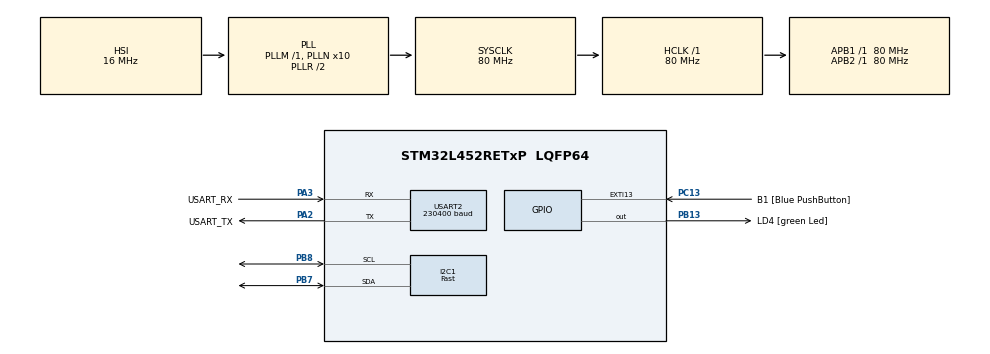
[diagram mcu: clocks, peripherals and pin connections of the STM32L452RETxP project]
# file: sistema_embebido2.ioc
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I2C1.I2C_Speed_Mode=I2C_Fast
I2C1.Timing=0x00702991
Mcu.Family=STM32L4
Mcu.Name=STM32L452RETxP
Mcu.Package=LQFP64
NVIC.PriorityGroup=NVIC_PRIORITYGROUP_4
NVIC.TIM1_UP_TIM16_IRQn=true\:0\:0\:false\:false\:true\:true\:true\:true
PA13\ (JTMS/SWDIO).GPIO_Label=TMS
PA13\ (JTMS/SWDIO).Signal=SYS_JTMS-SWDIO
PA14\ (JTCK/SWCLK).GPIO_Label=TCK
PA14\ (JTCK/SWCLK).Signal=SYS_JTCK-SWCLK
PA2.GPIO_Label=USART_TX
PA2.GPIO_Mode=GPIO_MODE_AF_PP
PA2.GPIO_PuPd=GPIO_NOPULL
PA2.GPIO_Speed=GPIO_SPEED_FREQ_VERY_HIGH
PA2.Mode=Asynchronous
PA2.Signal=USART2_TX
PA3.GPIO_Label=USART_RX
PA3.GPIO_Mode=GPIO_MODE_AF_PP
PA3.GPIO_PuPd=GPIO_NOPULL
PA3.GPIO_Speed=GPIO_SPEED_FREQ_VERY_HIGH
PA3.Mode=Asynchronous
PA3.Signal=USART2_RX
PB13.GPIO_Label=LD4 [green Led]
PB13.Signal=GPIO_Output
PB3\ (JTDO/TRACESWO).GPIO_Label=SWO
PB3\ (JTDO/TRACESWO).Signal=SYS_JTDO-SWO
PB7.Mode=I2C
PB7.Signal=I2C1_SDA
PB8.Mode=I2C
PB8.Signal=I2C1_SCL
PC13.GPIO_Label=B1 [Blue PushButton]
PC13.GPIO_ModeDefaultEXTI=GPIO_MODE_IT_FALLING
PC13.GPIO_PuPd=GPIO_NOPULL
PC13.Signal=GPXTI13
PC14-OSC32_IN\ (PC14).Signal=RCC_OSC32_IN
PC15-OSC32_OUT\ (PC15).Signal=RCC_OSC32_OUT
PH0-OSC_IN\ (PH0).GPIO_Label=MCO
PH0-OSC_IN\ (PH0).Signal=RCC_OSC_IN
PH1-OSC_OUT\ (PH1).Signal=RCC_OSC_OUT
ProjectManager.HeapSize=0x200
ProjectManager.StackSize=0x400
ProjectManager.TargetToolchain=STM32CubeIDE
RCC.ADCFreq_Value=64000000
RCC.AHBFreq_Value=80000000
RCC.APB1Freq_Value=80000000
RCC.APB1TimFreq_Value=80000000
RCC.APB2Freq_Value=80000000
RCC.APB2TimFreq_Value=80000000
RCC.CortexFreq_Value=80000000
RCC.HCLKFreq_Value=80000000
RCC.HSE_VALUE=8000000
RCC.HSI48_VALUE=48000000
RCC.HSI_VALUE=16000000
RCC.LSE_VALUE=32768
RCC.MSI_VALUE=4000000
RCC.PLLN=10
RCC.PLLSourceVirtual=RCC_PLLSOURCE_HSI
RCC.PREFETCH_ENABLE=1
RCC.SYSCLKFreq_VALUE=80000000
RCC.SYSCLKSource=RCC_SYSCLKSOURCE_PLLCLK
RCC.USBFreq_Value=64000000
RCC.VCOOutputFreq_Value=160000000
TIM1.Period=999
TIM1.Prescaler=32
USART2.BaudRate=230400
USART2.VirtualMode-Asynchronous=VM_ASYNC
VP_TIM1_VS_ClockSourceINT.Mode=Internal
board=NUCLEO-L452RE-P

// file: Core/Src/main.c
/* USER CODE BEGIN Header */
/**
  ******************************************************************************
  * @file           : main.c
  * @brief          : Programa principal para estimación de orientación con IMU
  ******************************************************************************
  * @attention
  *
  * Copyright (c) 2024 STMicroelectronics.
  * All rights reserved.
  *
  * This software is licensed under terms that can be found in the LICENSE file
  * in the root directory of this software component.
  * If no LICENSE file comes with this software, it is provided AS-IS.
  *
  ******************************************************************************
  */

#include "main.h"
#include <stdio.h>
#include <string.h>
#include <math.h>
#include "linalg.h"       // Implementación de operaciones de álgebra lineal
#include "miniblas.h"     // Implementación para cálculos de matrices
#include "imu_estimation.h" // Algoritmos de estimación para IMU
/* USER CODE END Includes */

/* USER CODE BEGIN PV */
/* Variables privadas ---------------------------------------------------------*/
// Estructura para almacenar datos del sensor MPU6050
MPU6050_t MPU6050;

// Variables para almacenar lecturas de acelerómetro y giroscopio
float accX, accY, accZ;  // Acelerómetro (m/s²)
float gyrX, gyrY, gyrZ;  // Giroscopio (rad/s)

// Contadores y variables de control
uint16_t sample_counter; // Contador de muestras
int int_counter;         // Contador de interrupciones
uint8_t leer;            // Bandera para indicar cuando leer el sensor

/* Variables para almacenar resultados de la estimación */
float phi, theta, psi;   // Ángulos de Euler actuales (rad)
float accelGlobal[1][3]; // Aceleración en marco global (m/s²)
float velGlobal[1][3];   // Velocidad en marco global (m/s)
float posGlobal[1][3];   // Posición en marco global (m)

/* Variables de estado del sistema */
IMUState imu_state;      // Estado del sistema IMU
float dt = 0.0004f;      // Período de muestreo (2500 Hz)
/* USER CODE END PV */

I2C_HandleTypeDef hi2c1;        // Manipulador para I2C1 (comunicación con MPU6050)
TIM_HandleTypeDef htim1;        // Manipulador para Timer1 (muestreo periódico)
UART_HandleTypeDef huart2;      // Manipulador para UART2 (comunicación con PC)

void SystemClock_Config(void);
static void MX_GPIO_Init(void);
static void MX_I2C1_Init(void);
static void MX_USART2_UART_Init(void);
static void MX_TIM1_Init(void);

/* USER CODE BEGIN 0 */
/**
  * @brief  Convierte la lectura cruda del acelerómetro a unidades físicas (m/s²)
  * @param  raw: Valor crudo del sensor
  * @param  maxRaw: Valor máximo del rango del sensor
  * @param  minRaw: Valor mínimo del rango del sensor
  * @param  center: Valor central (cero) del sensor
  * @retval Aceleración en m/s²
  */
float convertAcc(float raw, float maxRaw, float minRaw, float center) {
    if (raw >= center) {
        return (raw - center) * (9.81 / (maxRaw - center));
    } else {
        return (raw - center) * (9.81 / (center - minRaw));
    }
}

/**
  * @brief  Convierte la lectura cruda del giroscopio a unidades físicas (rad/s)
  * @param  raw: Valor crudo del sensor
  * @param  maxRaw: Valor máximo del rango del sensor
  * @param  minRaw: Valor mínimo del rango del sensor
  * @param  center: Valor central (cero) del sensor
  * @retval Velocidad angular en rad/s
  */
float convertGyro(float raw, float maxRaw, float minRaw, float center) {
    if (raw >= center) {
        return (raw - center) * (3.0 / (maxRaw - center));
    } else {
        return (raw - center) * (3.0 / (center - minRaw));
    }
}

/**
  * @brief  Envía los ángulos de Euler calculados por UART
  * @note   Utiliza un protocolo simple con byte de sincronización (0xAA)
  *         seguido por los valores de phi, theta y psi (4 bytes cada uno)
  * @param  None
  * @retval None
  */
void send_euler_angles(void) {
    uint8_t sync_byte = 0xAA;  // Byte de sincronización
    uint8_t bytes[4];

    // Enviar byte de sincronización
    HAL_UART_Transmit(&huart2, &sync_byte, 1, HAL_MAX_DELAY);

    // Enviar phi (ángulo de roll)
    memcpy(bytes, &phi, sizeof(float));
    HAL_UART_Transmit(&huart2, &bytes[3], 1, HAL_MAX_DELAY);
    HAL_UART_Transmit(&huart2, &bytes[2], 1, HAL_MAX_DELAY);
    HAL_UART_Transmit(&huart2, &bytes[1], 1, HAL_MAX_DELAY);
    HAL_UART_Transmit(&huart2, &bytes[0], 1, HAL_MAX_DELAY);

    // Enviar theta (ángulo de pitch)
    memcpy(bytes, &theta, sizeof(float));
    HAL_UART_Transmit(&huart2, &bytes[3], 1, HAL_MAX_DELAY);
    HAL_UART_Transmit(&huart2, &bytes[2], 1, HAL_MAX_DELAY);
    HAL_UART_Transmit(&huart2, &bytes[1], 1, HAL_MAX_DELAY);
    HAL_UART_Transmit(&huart2, &bytes[0], 1, HAL_MAX_DELAY);

    // Enviar psi (ángulo de yaw)
    memcpy(bytes, &psi, sizeof(float));
    HAL_UART_Transmit(&huart2, &bytes[3], 1, HAL_MAX_DELAY);
    HAL_UART_Transmit(&huart2, &bytes[2], 1, HAL_MAX_DELAY);
    HAL_UART_Transmit(&huart2, &bytes[1], 1, HAL_MAX_DELAY);
    HAL_UART_Transmit(&huart2, &bytes[0], 1, HAL_MAX_DELAY);
}
/* USER CODE END 0 */

/**
  * @brief  Punto de entrada principal.
  * @retval int
  */
int main(void)
{
    /* USER CODE BEGIN 1 */
    // Inicialización de variables
    sample_counter = 0;
    leer = 0;
    int_counter = 0;
    /* USER CODE END 1 */

    /* Reset de todos los periféricos, inicialización de la interfaz Flash y Systick. */
    HAL_Init();

    /* Configuración del reloj del sistema */
    SystemClock_Config();

    /* Inicialización de todos los periféricos configurados */
    MX_GPIO_Init();
    MX_I2C1_Init();
    MX_USART2_UART_Init();
    MX_TIM1_Init();

    /* USER CODE BEGIN 2 */
    // Inicialización del sensor MPU6050 (reintenta si falla)
    while (MPU6050_Init(&hi2c1) == 1);

    // Iniciar el timer para el muestreo periódico
    if (HAL_TIM_Base_Start_IT(&htim1) != HAL_OK)
    {
        /* Error al iniciar el timer */
        Error_Handler();
    }

    // Inicializar el estado del sistema IMU con el periodo de muestreo
    initIMUState(&imu_state, dt);
    /* USER CODE END 2 */

    /* Bucle infinito */
    while (1)
    {
        // Procesar datos cuando la interrupción del timer activa la bandera 'leer'
        if(leer) {
            leer = 0;  // Resetear bandera

            // Leer datos del sensor MPU6050
            MPU6050_Read_All(&hi2c1, &MPU6050);

            // Convertir lecturas crudas a unidades físicas (calibración)
            accX = convertAcc(MPU6050.Accel_X_RAW, 17000, -16400, 0);
            accY = convertAcc(MPU6050.Accel_Y_RAW, 16400, -16500, 0);
            accZ = convertAcc(MPU6050.Accel_Z_RAW, 19350, -14600, 0);
            gyrX = convertGyro(MPU6050.Gyro_X_RAW, 7200, -6200, 625);
            gyrY = convertGyro(MPU6050.Gyro_Y_RAW, 6500, -7600, -463);
            gyrZ = convertGyro(MPU6050.Gyro_Z_RAW, 7600, -7600, 200);

            // Procesar datos IMU para obtener ángulos de Euler y posición
            processIMUData(&imu_state,
                         accX, accY, accZ,
                         gyrX, gyrY, gyrZ,
                         &phi, &theta, &psi,
                         posGlobal[0],
                         velGlobal[0]);

            sample_counter++;

            // Enviar ángulos de Euler cada 20 muestras (125 Hz con muestreo a 2500 Hz)
            if(sample_counter >= 20) {
                send_euler_angles();
                sample_counter = 0;
            }
        }
    }
}

void SystemClock_Config(void)
{
  RCC_OscInitTypeDef RCC_OscInitStruct = {0};
  RCC_ClkInitTypeDef RCC_ClkInitStruct = {0};

  /** Configure the main internal regulator output voltage
  */
  if (HAL_PWREx_ControlVoltageScaling(PWR_REGULATOR_VOLTAGE_SCALE1) != HAL_OK)
  {
    Error_Handler();
  }

  /** Initializes the RCC Oscillators according to the specified parameters
  * in the RCC_OscInitTypeDef structure.
  */
  RCC_OscInitStruct.OscillatorType = RCC_OSCILLATORTYPE_HSI;
  RCC_OscInitStruct.HSIState = RCC_HSI_ON;
  RCC_OscInitStruct.HSICalibrationValue = 64;
  RCC_OscInitStruct.PLL.PLLState = RCC_PLL_ON;
  RCC_OscInitStruct.PLL.PLLSource = RCC_PLLSOURCE_HSI;
  RCC_OscInitStruct.PLL.PLLM = 1;
  RCC_OscInitStruct.PLL.PLLN = 10;
  RCC_OscInitStruct.PLL.PLLP = RCC_PLLP_DIV7;
  RCC_OscInitStruct.PLL.PLLQ = RCC_PLLQ_DIV2;
  RCC_OscInitStruct.PLL.PLLR = RCC_PLLR_DIV2;
  if (HAL_RCC_OscConfig(&RCC_OscInitStruct) != HAL_OK)
  {
    Error_Handler();
  }

  /** Initializes the CPU, AHB and APB buses clocks
  */
  RCC_ClkInitStruct.ClockType = RCC_CLOCKTYPE_HCLK|RCC_CLOCKTYPE_SYSCLK
                              |RCC_CLOCKTYPE_PCLK1|RCC_CLOCKTYPE_PCLK2;
  RCC_ClkInitStruct.SYSCLKSource = RCC_SYSCLKSOURCE_PLLCLK;
  RCC_ClkInitStruct.AHBCLKDivider = RCC_SYSCLK_DIV1;
  RCC_ClkInitStruct.APB1CLKDivider = RCC_HCLK_DIV1;
  RCC_ClkInitStruct.APB2CLKDivider = RCC_HCLK_DIV1;

  if (HAL_RCC_ClockConfig(&RCC_ClkInitStruct, FLASH_LATENCY_4) != HAL_OK)
  {
    Error_Handler();
  }
}

static void MX_I2C1_Init(void)
{

  hi2c1.Instance = I2C1;
  hi2c1.Init.Timing = 0x00702991;
  hi2c1.Init.OwnAddress1 = 0;
  hi2c1.Init.AddressingMode = I2C_ADDRESSINGMODE_7BIT;
  hi2c1.Init.DualAddressMode = I2C_DUALADDRESS_DISABLE;
  hi2c1.Init.OwnAddress2 = 0;
  hi2c1.Init.OwnAddress2Masks = I2C_OA2_NOMASK;
  hi2c1.Init.GeneralCallMode = I2C_GENERALCALL_DISABLE;
  hi2c1.Init.NoStretchMode = I2C_NOSTRETCH_DISABLE;
  if (HAL_I2C_Init(&hi2c1) != HAL_OK)
  {
    Error_Handler();
  }

  /** Configure Analogue filter
  */
  if (HAL_I2CEx_ConfigAnalogFilter(&hi2c1, I2C_ANALOGFILTER_ENABLE) != HAL_OK)
  {
    Error_Handler();
  }

  /** Configure Digital filter
  */
  if (HAL_I2CEx_ConfigDigitalFilter(&hi2c1, 0) != HAL_OK)
  {
    Error_Handler();
  }

}

static void MX_TIM1_Init(void)
{

  TIM_ClockConfigTypeDef sClockSourceConfig = {0};
  TIM_MasterConfigTypeDef sMasterConfig = {0};

  htim1.Instance = TIM1;
  htim1.Init.Prescaler = 32;
  htim1.Init.CounterMode = TIM_COUNTERMODE_UP;
  htim1.Init.Period = 999;
  htim1.Init.ClockDivision = TIM_CLOCKDIVISION_DIV1;
  htim1.Init.RepetitionCounter = 0;
  htim1.Init.AutoReloadPreload = TIM_AUTORELOAD_PRELOAD_DISABLE;
  if (HAL_TIM_Base_Init(&htim1) != HAL_OK)
  {
    Error_Handler();
  }
  sClockSourceConfig.ClockSource = TIM_CLOCKSOURCE_INTERNAL;
  if (HAL_TIM_ConfigClockSource(&htim1, &sClockSourceConfig) != HAL_OK)
  {
    Error_Handler();
  }
  sMasterConfig.MasterOutputTrigger = TIM_TRGO_RESET;
  sMasterConfig.MasterOutputTrigger2 = TIM_TRGO2_RESET;
  sMasterConfig.MasterSlaveMode = TIM_MASTERSLAVEMODE_DISABLE;
  if (HAL_TIMEx_MasterConfigSynchronization(&htim1, &sMasterConfig) != HAL_OK)
  {
    Error_Handler();
  }

}

static void MX_USART2_UART_Init(void)
{

  huart2.Instance = USART2;
  huart2.Init.BaudRate = 230400;
  huart2.Init.WordLength = UART_WORDLENGTH_8B;
  huart2.Init.StopBits = UART_STOPBITS_1;
  huart2.Init.Parity = UART_PARITY_NONE;
  huart2.Init.Mode = UART_MODE_TX_RX;
  huart2.Init.HwFlowCtl = UART_HWCONTROL_NONE;
  huart2.Init.OverSampling = UART_OVERSAMPLING_16;
  huart2.Init.OneBitSampling = UART_ONE_BIT_SAMPLE_DISABLE;
  huart2.AdvancedInit.AdvFeatureInit = UART_ADVFEATURE_NO_INIT;
  if (HAL_UART_Init(&huart2) != HAL_OK)
  {
    Error_Handler();
  }

}

static void MX_GPIO_Init(void)
{
  GPIO_InitTypeDef GPIO_InitStruct = {0};

  /* GPIO Ports Clock Enable */
  __HAL_RCC_GPIOC_CLK_ENABLE();
  __HAL_RCC_GPIOH_CLK_ENABLE();
  __HAL_RCC_GPIOA_CLK_ENABLE();
  __HAL_RCC_GPIOB_CLK_ENABLE();

  /*Configure GPIO pin Output Level */
  HAL_GPIO_WritePin(LD4_GPIO_Port, LD4_Pin, GPIO_PIN_RESET);

  /*Configure GPIO pin : B1_Pin */
  GPIO_InitStruct.Pin = B1_Pin;
  GPIO_InitStruct.Mode = GPIO_MODE_IT_FALLING;
  GPIO_InitStruct.Pull = GPIO_NOPULL;
  HAL_GPIO_Init(B1_GPIO_Port, &GPIO_InitStruct);

  /*Configure GPIO pin : LD4_Pin */
  GPIO_InitStruct.Pin = LD4_Pin;
  GPIO_InitStruct.Mode = GPIO_MODE_OUTPUT_PP;
  GPIO_InitStruct.Pull = GPIO_NOPULL;
  GPIO_InitStruct.Speed = GPIO_SPEED_FREQ_LOW;
  HAL_GPIO_Init(LD4_GPIO_Port, &GPIO_InitStruct);

}

void Error_Handler(void)
{
  __disable_irq();
  while (1)
  {
  }
}
